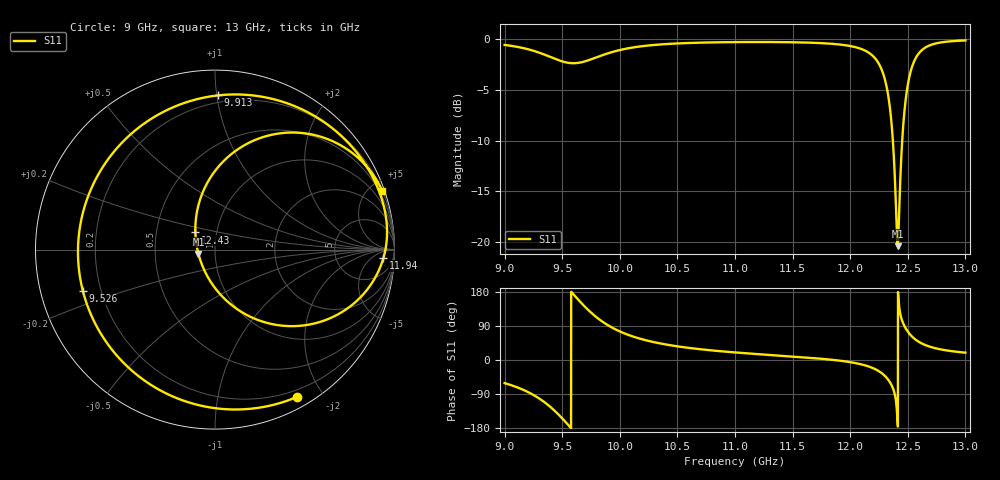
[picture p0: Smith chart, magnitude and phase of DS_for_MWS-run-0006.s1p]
! TOUCHSTONE file generated by CST DESIGN STUDIO
! Date and time: Tue Feb  4 17:24:11 2025
! Project name: C:\Work\MatlabApps\UnitCellOptimizationMatlab\CST\unitcell.cst
! Tree item: Tasks\Sweep1\SPara1\S-Parameters
! Header version: 2024
! Port assignment regex: !\s*Touchstone port\s*([0-9]+)\s*=\s*(CST MWS port|CST DES external port|CST DES block port)\s*(.+)\s* \(\"(.*)\"\)(\s*mode\s*([0-9]+))?.*
! Touchstone port assignment:
! Touchstone port 1 = CST DES external port 1 ("")
# GHz S MA R 50
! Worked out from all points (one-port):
!   4001 points, 9 GHz to 13 GHz, reference 50 ohm
!   lowest |S11| = -20.4 dB at 12.41 GHz (marker M1), VSWR 1.21, Z = 41.5 - j2.03 ohm
!   |S11| at or under -10 dB: 12.37 GHz to 12.45 GHz (80.83 MHz wide, 0.651 % of centre)
!   S11 on the Smith chart (normalised r, x): 9 GHz: 0.12, -1.69; 9.526 GHz: 0.13, -0.15; 9.913 GHz: 0.15, +1.01; 11.94 GHz: 19, -16; 12.43 GHz: 0.79, +0.15; 13 GHz: 0.21, +5.87
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9  0.939 -61.0
9.148  0.9097 -76.9
9.298  0.8611 -101.1
9.4  0.8178 -124.6
9.5  0.7787 -154.0
9.526  0.7715 -162.5
9.622  0.764 164.9
9.732  0.7907 130.2
9.817  0.8234 108.3
9.913  0.8594 88.9
10  0.8861 75.4
10.217  0.9292 52.8
10.5  0.9551 36.0
11  0.97 20.0
11.5  0.9682 9.2
11.938  0.9394 -2.9
12  0.9276 -5.7
12.186  0.8393 -20.0
12.299  0.6411 -41.4
12.356  0.401 -64.5
12.4  0.1332 -115.4
12.412  0.09535 -165.3
12.426  0.1455 138.8
12.46  0.3739 96.6
12.5  0.5965 75.0
12.581  0.831 50.8
12.671  0.9241 37.2
13  0.9882 19.3
